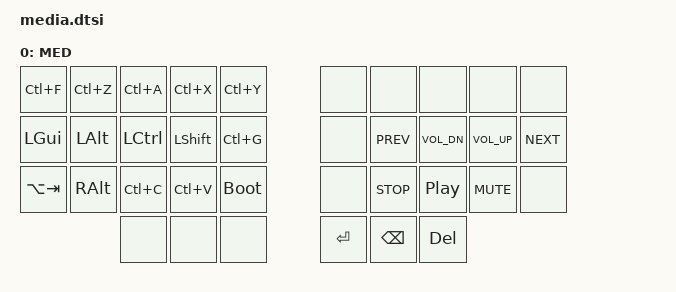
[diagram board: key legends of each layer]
/ {
	keymap {
        compatible = "zmk,keymap";

		media_layer {
			label = "MED";
			bindings = <
                &kp LC(F)   &kp LC(Z)   &kp LC(A)   &kp LC(X)   &kp LC(Y)   &none       &none       &none       &none       &none 
                &kp LGUI    &kp LALT    &kp LCTL    &kp LSHFT   &kp LC(G)   &none       &kp C_PREV  &kp C_VOL_DN &kp C_VOL_UP &kp C_NEXT
                &kp LA(TAB) &kp RALT    &kp LC(C)   &kp LC(V) 	&bootloader &none       &kp C_STOP  &kp C_PP    &kp C_MUTE  &none
                                        &none       &none       &none       &kp RET     &kp BSPC    &kp DEL     
			>;
		};	
	};
};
